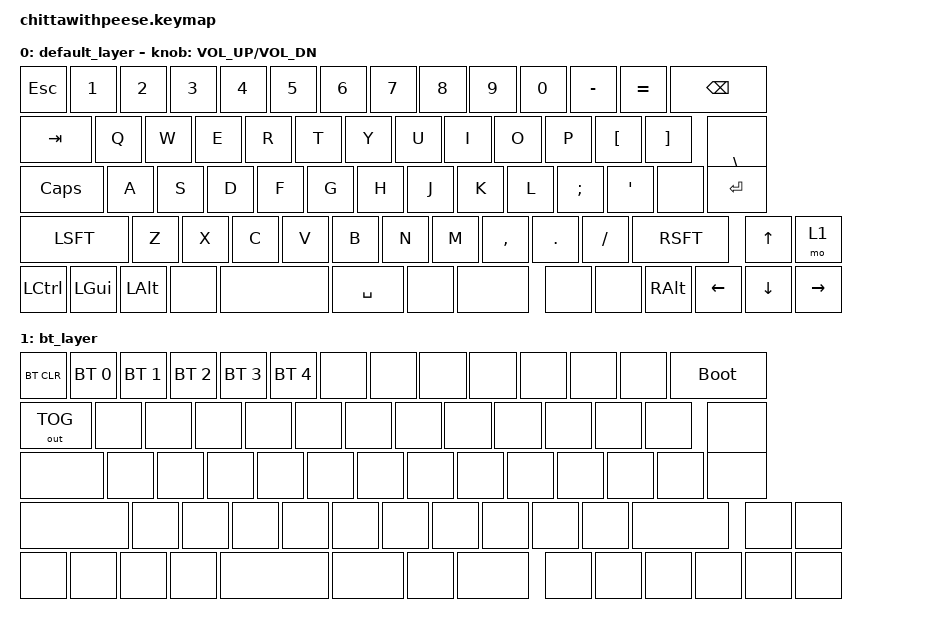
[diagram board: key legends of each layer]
#include <behaviors.dtsi>
#include <dt-bindings/zmk/keys.h>
#include <dt-bindings/zmk/bt.h>
#include <dt-bindings/zmk/outputs.h>

/ {
    keymap {
        compatible = "zmk,keymap";

        default_layer {
            // Layer 0: Standard Keys
            // 14 keys per row x 5 rows = 70 keys
            bindings = <
&kp ESC   &kp N1 &kp N2 &kp N3 &kp N4 &kp N5 &kp N6 &kp N7 &kp N8 &kp N9 &kp N0 &kp MINUS &kp EQUAL &kp BSPC
&kp TAB   &kp Q  &kp W  &kp E  &kp R  &kp T  &kp Y  &kp U  &kp I  &kp O  &kp P  &kp LBKT  &kp RBKT  &kp BSLH
&kp CLCK  &kp A  &kp S  &kp D  &kp F  &kp G  &kp H  &kp J  &kp K  &kp L  &kp SEMI &kp SQT   &none     &kp RET
&kp LSFT  &kp Z  &kp X  &kp C  &kp V  &kp B  &kp N  &kp M  &kp COMMA &kp DOT &kp FSLH &kp RSFT &kp UP    &mo 1
&kp LCTL  &kp LGUI &kp LALT &none &none &kp SPACE &none &none &none &none &kp RALT &kp LEFT &kp DOWN  &kp RIGHT
            >;

            sensor-bindings = <&inc_dec_kp C_VOL_UP C_VOL_DN>;
        };

        bt_layer {
            // Layer 1: Bluetooth & System (Accessed by holding the bottom-right key)
            bindings = <
&bt BT_CLR   &bt BT_SEL 0 &bt BT_SEL 1 &bt BT_SEL 2 &bt BT_SEL 3 &bt BT_SEL 4 &none &none &none &none &none &none &none &bootloader
&out OUT_TOG &none        &none        &none        &none        &none        &none &none &none &none &none &none &none &none
&none        &none        &none        &none        &none        &none        &none &none &none &none &none &none &none &none
&none        &none        &none        &none        &none        &none        &none &none &none &none &none &none &none &none
&none        &none        &none        &none        &none        &none        &none &none &none &none &none &none &none &none
            >;
        };
    };
};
